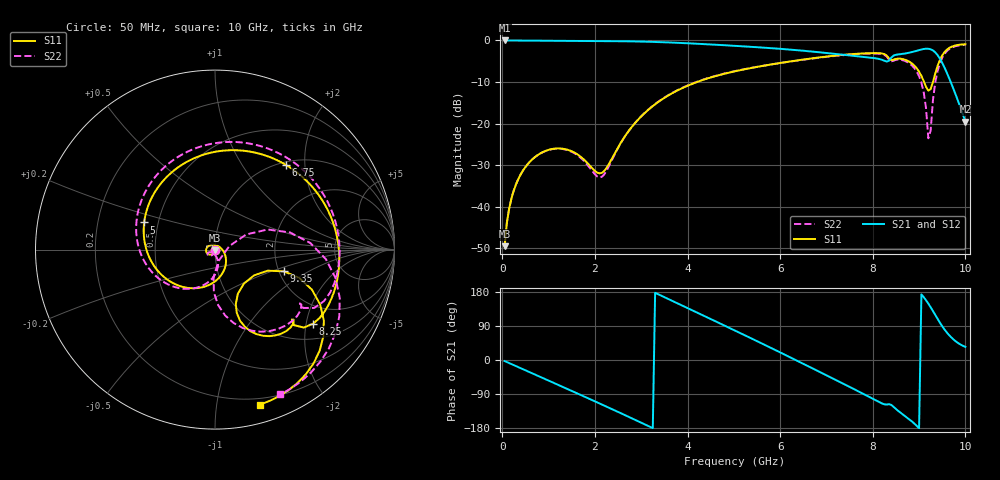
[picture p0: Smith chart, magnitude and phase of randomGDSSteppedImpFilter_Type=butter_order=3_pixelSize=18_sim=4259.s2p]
! freq	dB(S11)	phase(S11)	dB(S12)	phase(S12)
!  dB(S21)	phase(S21)	dB(S22)	phase(S22)
!S-par simulation data
#  GHz  S  DB  R 50
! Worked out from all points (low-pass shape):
!   200 points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, 50 MHz to 10 GHz, reference 50 ohm
!   highest |S21| = -0.01 dB at 50 MHz (marker M1); lowest = -19.5 dB at 10 GHz (marker M2)
!   |S21| within 3 dB of the highest: start of sweep to 6.99 GHz; 8.763 GHz to 9.36 GHz (596.3 MHz wide, 6.58 % of centre)
!   lowest |S11| = -49.5 dB at 50 MHz (marker M3), VSWR 1.01, Z = 50 - j0.336 ohm
!   |S11| at or under -10 dB: start of sweep to 4.204 GHz; 9.108 GHz to 9.299 GHz (191.8 MHz wide, 2.08 % of centre)
!   |S22| runs from -49.5 to -1.1 dB; largest |S21 - S12| = 0
!   S11 on the Smith chart (normalised r, x): 50 MHz: 1.00, -0.01; 5 GHz: 0.42, +0.15; 6.75 GHz: 1.05, +1.60; 8.25 GHz: 1.41, -2.20; 9.35 GHz: 2.12, -0.61; 10 GHz: 0.15, -1.32
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0.05  -49.47 -86.5  -0.01 -2.8  -0.01 -2.8  -49.47 -85.5
0.25  -36.01 -104.6  -0.02 -13.7  -0.02 -13.7  -35.99 -100.6
0.6  -29.12 -128.2  -0.05 -32.6  -0.05 -32.6  -29.11 -118.2
1.75  -28.51 140.9  -0.11 -95.3  -0.11 -95.3  -28.83 -155.8
2.15  -31.85 57.6  -0.14 -117.4  -0.14 -117.4  -32.79 -112.3
2.8  -20.75 -48.1  -0.22 -154.0  -0.22 -154.0  -20.74 -79.5
3.4  -14.54 -94.4  -0.40 171.6  -0.40 171.6  -14.48 -102.7
4.25  -9.82 -151.9  -0.82 122.6  -0.82 122.6  -9.75 -143.5
5  -7.48 159.0  -1.28 79.1  -1.28 79.1  -7.43 178.5
5.05  -7.36 155.7  -1.32 76.2  -1.32 76.2  -7.31 175.9
5.9  -5.60 101.5  -1.93 26.1  -1.93 26.1  -5.61 129.6
6.7  -4.29 53.0  -2.68 -22.2  -2.68 -22.2  -4.34 81.6
6.75  -4.21 50.1  -2.74 -25.2  -2.74 -25.2  -4.27 78.5
7.65  -3.21 -0.4  -3.78 -80.3  -3.78 -80.3  -3.30 19.9
8.25  -3.28 -37.1  -4.88 -117.0  -4.88 -117.0  -3.46 -25.4
8.35  -4.31 -43.7  -4.87 -116.5  -4.87 -116.5  -4.60 -33.5
9  -7.51 -70.6  -2.33 -180.0  -2.33 -180.0  -8.61 -81.2
9.1  -9.79 -69.1  -2.06 165.8  -2.06 165.8  -12.47 -91.5
9.2  -12.09 -49.8  -2.00 148.8  -2.00 148.8  -23.53 -72.6
9.35  -7.92 -17.5  -2.88 118.8  -2.88 118.8  -10.07 20.9
9.6  -2.23 -38.7  -7.78 72.5  -7.78 72.5  -2.55 -21.2
10  -0.92 -73.8  -19.52 34.7  -19.52 34.7  -1.05 -65.7
